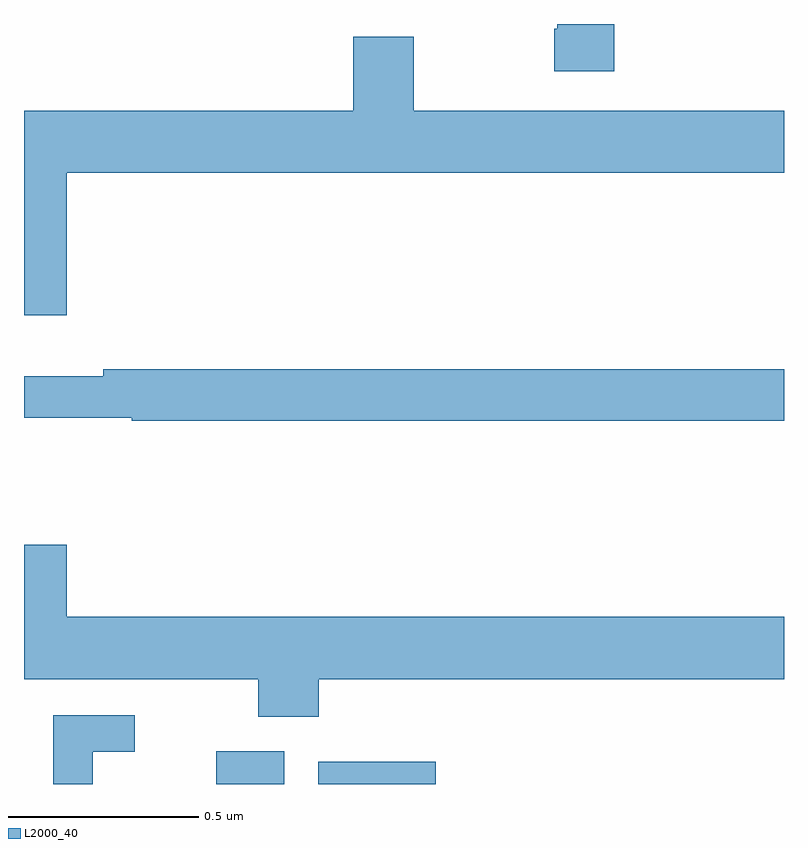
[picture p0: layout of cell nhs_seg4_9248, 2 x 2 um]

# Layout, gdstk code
import gdstk
lib = gdstk.Library(unit=1e-6, precision=1e-09)
def R(c, l, rs):  # rectangles x0, y0, x1, y1
    for r in rs: c.add(gdstk.rectangle(r[:2], r[2:], *l))
def P(c, l, *ps):  # polygons
    for p in ps: c.add(gdstk.Polygon(p, *l))
L2000_40 = (2000, 40)

nhs_seg4_9248 = lib.new_cell('nhs_seg4_9248')
R(nhs_seg4_9248, L2000_40, [(225.506,773.9,225.685,773.986), (225.774,773.9,226.084,773.958)])
P(nhs_seg4_9248, L2000_40, [(226.553,775.9),(226.403,775.9),(226.403,775.888),(226.396,775.888),(226.396,775.776),(226.553,775.776)],
  [(225.112,775.508),(227,775.508),(227,775.672),(226.026,775.672),(226.026,775.867),(225.866,775.867),(225.866,775.672),(225,775.672),(225,775.134),(225.112,775.134)],
  [(227,774.992),(225.208,774.992),(225.208,774.973),(225,774.973),(225,774.864),(225.284,774.864),(225.284,774.856),(227,774.856)],
  [(225.776,774.176),(227,774.176),(227,774.34),(225.112,774.34),(225.112,774.529),(225,774.529),(225,774.176),(225.616,774.176),(225.616,774.077),(225.776,774.077)],
  [(225.181,773.985),(225.292,773.985),(225.292,774.081),(225.077,774.081),(225.077,773.9),(225.181,773.9)])

lib.write_gds('nhs_seg4_9248.gds')
